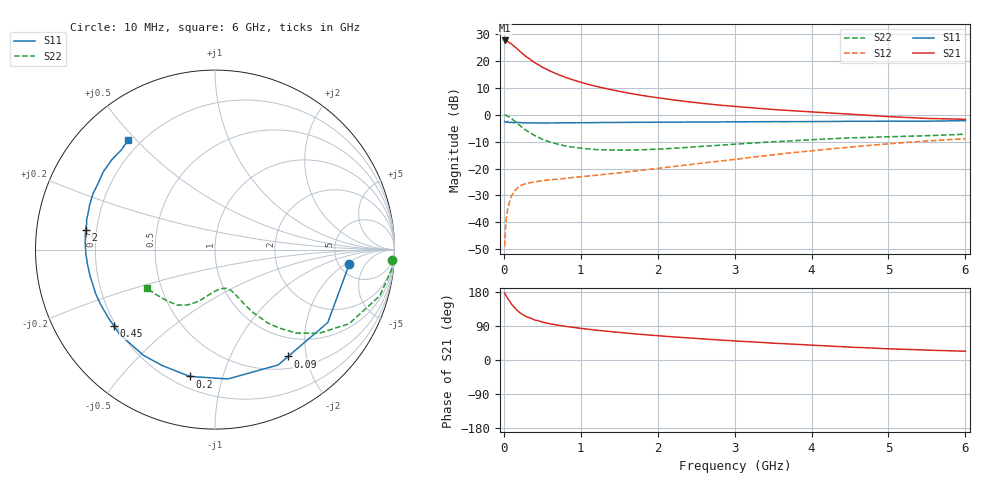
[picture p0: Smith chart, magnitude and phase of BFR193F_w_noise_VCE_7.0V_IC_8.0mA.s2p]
! (c) 2017  Infineon Technologies AG, Munich
! Infineon Technologies  Discrete & RF Semiconductors
! BFR193F
! VCE =  7.0 V,  IC =  8.0 mA
! Common Emitter S-Parameters:  Jan 2017
# GHz  S  MA  R  50
!  f  S11  S21  S12  S22
! GHz  MAG  ANG  MAG  ANG  MAG  ANG  MAG  ANG
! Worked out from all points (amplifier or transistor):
!   77 points, 10 MHz to 6 GHz, reference 50 ohm
!   highest |S21| = 27.7 dB at 10 MHz (marker M1)
!   |S21| within 3 dB of that: start of sweep to 168.1 MHz
!   unconditionally stable (mu >= 1): 1.666 GHz to 2.905 GHz
!   at 130 MHz: K = 0.15, MSG = 27.2 dB, |S12| = -28.8 dB
!   at 2.2 GHz: K = 1.05, MAG = 11.0 dB, |S12| = -19.3 dB
!   at 6 GHz: K = 0.78, MSG = 3.6 dB, |S12| = -8.9 dB
!   lowest NFmin = 0.84 dB at 450 MHz
!   S11 on the Smith chart (normalised r, x): 10 MHz: 6.15, -2.33; 90 MHz: 0.68, -1.69; 200 MHz: 0.27, -0.78; 450 MHz: 0.19, -0.32; 2 GHz: 0.16, +0.08; 6 GHz: 0.15, +0.48
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0.01  0.7516 -6.3  24.21 176.8  0.0036 83.0  0.9892 -3.3
0.02  0.7344 -14.0  23.89 172.7  0.0072 82.4  0.99 -6.5
0.05  0.7483 -32.9  23.22 162.6  0.0178 77.3  0.9532 -15.7
0.09  0.7214 -55.6  21.21 150.5  0.0283 64.8  0.87 -26.0
0.1  0.7328 -61.3  20.87 147.2  0.0311 63.0  0.8541 -28.9
0.15  0.7242 -84.3  18.07 135.4  0.0398 53.6  0.7439 -38.8
0.2  0.7205 -101.3  15.62 126.1  0.0469 47.4  0.6489 -45.8
0.25  0.7098 -114.4  13.48 119.1  0.0505 42.9  0.5652 -50.7
0.3  0.7112 -124.1  11.84 113.8  0.0532 40.4  0.5034 -54.3
0.4  0.7105 -138.3  9.385 105.8  0.0566 37.3  0.4112 -58.8
0.45  0.7057 -143.0  8.54 103.3  0.0581 36.9  0.3813 -60.0
0.6  0.707 -154.7  6.54 95.6  0.0619 36.7  0.3119 -63.3
0.7  0.709 -160.2  5.668 92.0  0.0637 38.2  0.2848 -64.9
0.9  0.7114 -167.9  4.468 86.1  0.0684 41.4  0.2492 -67.9
1.1  0.7152 -173.4  3.686 81.1  0.0726 44.9  0.2328 -71.4
1.5  0.7225 178.6  2.739 72.8  0.0832 52.2  0.2206 -79.3
2  0.7299 171.2  2.08 64.1  0.1008 60.0  0.2299 -89.5
2.1  0.7294 170.1  1.987 62.6  0.1048 61.1  0.2342 -91.2
3.1  0.7422 159.6  1.398 49.2  0.1542 69.6  0.2903 -105.6
4.1  0.7503 149.3  1.112 38.2  0.2217 71.1  0.3494 -118.0
5.1  0.7618 137.8  0.913 28.9  0.2963 67.5  0.3943 -134.8
6  0.7799 128.3  0.826 23.1  0.3599 62.0  0.437 -150.3
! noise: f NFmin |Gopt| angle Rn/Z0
0.45  0.84  0.25  124  0.08
0.9  0.99  0.4  147  0.07
1.9  1.74  0.61  -177  0.05
2.4  2.11  0.64  -167  0.08
